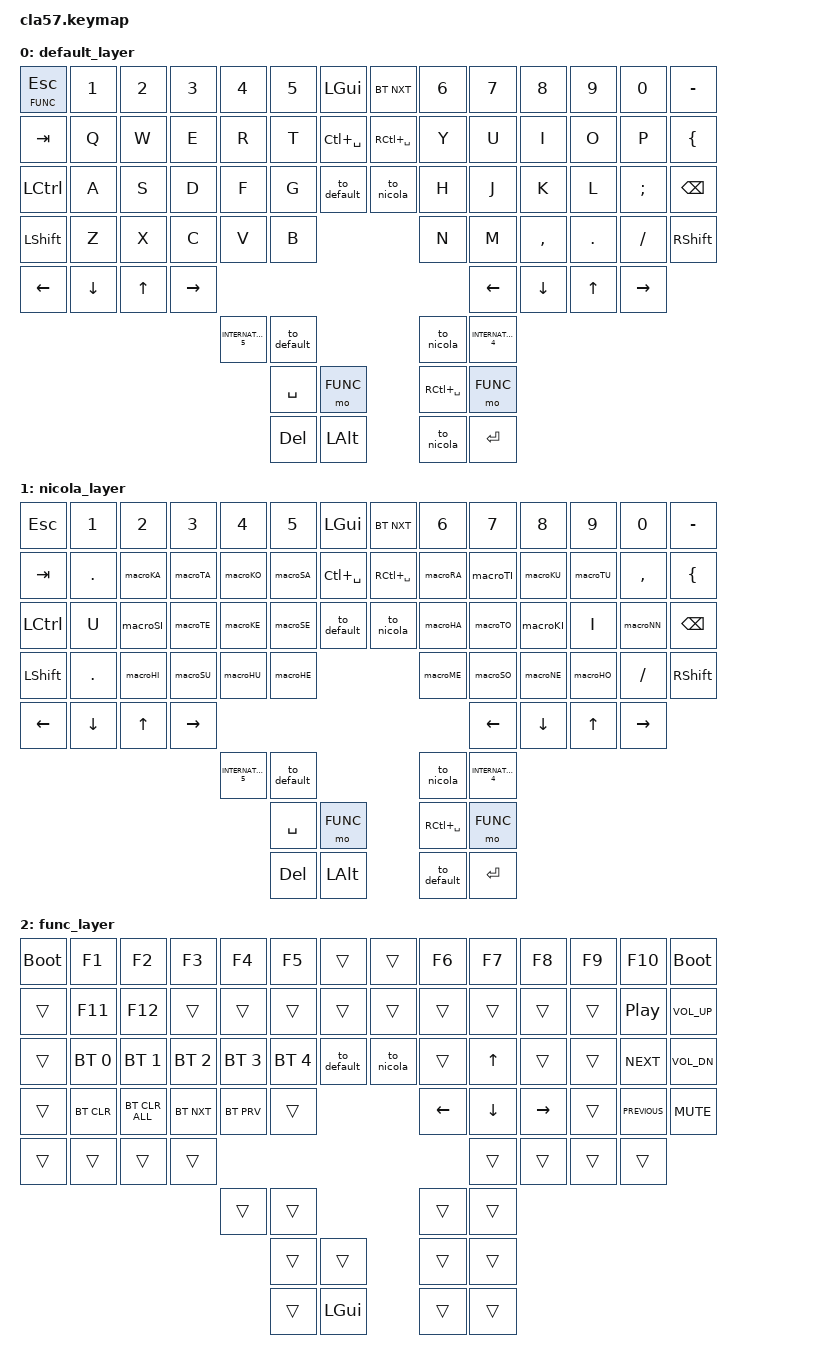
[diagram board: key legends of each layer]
/*
 * CLA57 - Japanese NICOLA Thumb Shift Split Keyboard
 * CPU: nRF52840 (nice_nano_v2)
 *
 * Layer 0 (DEFAULT): QWERTY base layer          - LED: Blue
 * Layer 1 (NICOLA):  NICOLA thumb shift layout   - LED: Red
 * Layer 2 (FUNC):    Function / media / BT       - LED: Green
 *
 * Left thumb shift  = INTERNATIONAL_5 (Muhenkan / 無変換) at position 62
 * Right thumb shift = INTERNATIONAL_4 (Henkan / 変換)     at position 65
 * Combo timeout: 30ms
 *
 * Key position map (74 keys total):
 *   Row 0: pos  0- 13 (14 keys)
 *   Row 1: pos 14- 27 (14 keys)
 *   Row 2: pos 28- 41 (14 keys)
 *   Row 3: pos 42- 53 (12 keys)
 *   Row 4: pos 54- 61 ( 8 keys)
 *   Thumb1: pos 62-65 ( 4 keys) ← thumb shift keys here
 *   Thumb2: pos 66-69 ( 4 keys)
 *   Thumb3: pos 70-73 ( 4 keys)
 */

#include <behaviors.dtsi>
#include <dt-bindings/zmk/bt.h>
#include <dt-bindings/zmk/keys.h>
/* #include <dt-bindings/zmk/rgb.h> */

#define DEFAULT 0
#define NICOLA  1
#define FUNC    2

/ {

    /* ============================================================
     *  Macros
     * ============================================================ */
    macros {

        /* --- Layer switch with LED color --- */

        to_default: to_default {
            compatible = "zmk,behavior-macro";
            #binding-cells = <0>;
            bindings = <&to DEFAULT>;
            label = "TO_DEFAULT";
        };

        to_nicola: to_nicola {
            compatible = "zmk,behavior-macro";
            #binding-cells = <0>;
            bindings = <&to NICOLA>;
            label = "TO_NICOLA";
        };

        /* --- Kana romaji macros (basic) --- */

        macroKA: macroKA {
            compatible = "zmk,behavior-macro";
            #binding-cells = <0>;
            bindings = <&kp K &kp A>;
            label = "KA";
        };

        macroKI: macroKI {
            compatible = "zmk,behavior-macro";
            #binding-cells = <0>;
            bindings = <&kp K &kp I>;
            label = "KI";
        };

        macroKU: macroKU {
            compatible = "zmk,behavior-macro";
            #binding-cells = <0>;
            bindings = <&kp K &kp U>;
            label = "KU";
        };

        macroKE: macroKE {
            compatible = "zmk,behavior-macro";
            #binding-cells = <0>;
            bindings = <&kp K &kp E>;
            label = "KE";
        };

        macroKO: macroKO {
            compatible = "zmk,behavior-macro";
            #binding-cells = <0>;
            bindings = <&kp K &kp O>;
            label = "KO";
        };

        macroSA: macroSA {
            compatible = "zmk,behavior-macro";
            #binding-cells = <0>;
            bindings = <&kp S &kp A>;
            label = "SA";
        };

        macroSI: macroSI {
            compatible = "zmk,behavior-macro";
            #binding-cells = <0>;
            bindings = <&kp S &kp I>;
            label = "SI";
        };

        macroSU: macroSU {
            compatible = "zmk,behavior-macro";
            #binding-cells = <0>;
            bindings = <&kp S &kp U>;
            label = "SU";
        };

        macroSE: macroSE {
            compatible = "zmk,behavior-macro";
            #binding-cells = <0>;
            bindings = <&kp S &kp E>;
            label = "SE";
        };

        macroSO: macroSO {
            compatible = "zmk,behavior-macro";
            #binding-cells = <0>;
            bindings = <&kp S &kp O>;
            label = "SO";
        };

        macroTA: macroTA {
            compatible = "zmk,behavior-macro";
            #binding-cells = <0>;
            bindings = <&kp T &kp A>;
            label = "TA";
        };

        macroTI: macroTI {
            compatible = "zmk,behavior-macro";
            #binding-cells = <0>;
            bindings = <&kp T &kp I>;
            label = "TI";
        };

        macroTU: macroTU {
            compatible = "zmk,behavior-macro";
            #binding-cells = <0>;
            bindings = <&kp T &kp U>;
            label = "TU";
        };

        macroTE: macroTE {
            compatible = "zmk,behavior-macro";
            #binding-cells = <0>;
            bindings = <&kp T &kp E>;
            label = "TE";
        };

        macroTO: macroTO {
            compatible = "zmk,behavior-macro";
            #binding-cells = <0>;
            bindings = <&kp T &kp O>;
            label = "TO";
        };

        macroNA: macroNA {
            compatible = "zmk,behavior-macro";
            #binding-cells = <0>;
            bindings = <&kp N &kp A>;
            label = "NA";
        };

        macroNI: macroNI {
            compatible = "zmk,behavior-macro";
            #binding-cells = <0>;
            bindings = <&kp N &kp I>;
            label = "NI";
        };

        macroNU: macroNU {
            compatible = "zmk,behavior-macro";
            #binding-cells = <0>;
            bindings = <&kp N &kp U>;
            label = "NU";
        };

        macroNE: macroNE {
            compatible = "zmk,behavior-macro";
            #binding-cells = <0>;
            bindings = <&kp N &kp E>;
            label = "NE";
        };

        macroNO: macroNO {
            compatible = "zmk,behavior-macro";
            #binding-cells = <0>;
            bindings = <&kp N &kp O>;
            label = "NO";
        };

        macroHA: macroHA {
            compatible = "zmk,behavior-macro";
            #binding-cells = <0>;
            bindings = <&kp H &kp A>;
            label = "HA";
        };

        macroHI: macroHI {
            compatible = "zmk,behavior-macro";
            #binding-cells = <0>;
            bindings = <&kp H &kp I>;
            label = "HI";
        };

        macroHU: macroHU {
            compatible = "zmk,behavior-macro";
            #binding-cells = <0>;
            bindings = <&kp H &kp U>;
            label = "HU";
        };

        macroHE: macroHE {
            compatible = "zmk,behavior-macro";
            #binding-cells = <0>;
            bindings = <&kp H &kp E>;
            label = "HE";
        };

        macroHO: macroHO {
            compatible = "zmk,behavior-macro";
            #binding-cells = <0>;
            bindings = <&kp H &kp O>;
            label = "HO";
        };

        macroMA: macroMA {
            compatible = "zmk,behavior-macro";
            #binding-cells = <0>;
            bindings = <&kp M &kp A>;
            label = "MA";
        };

        macroMI: macroMI {
            compatible = "zmk,behavior-macro";
            #binding-cells = <0>;
            bindings = <&kp M &kp I>;
            label = "MI";
        };

        macroMU: macroMU {
            compatible = "zmk,behavior-macro";
            #binding-cells = <0>;
            bindings = <&kp M &kp U>;
            label = "MU";
        };

        macroME: macroME {
            compatible = "zmk,behavior-macro";
            #binding-cells = <0>;
            bindings = <&kp M &kp E>;
            label = "ME";
        };

        macroMO: macroMO {
            compatible = "zmk,behavior-macro";
            #binding-cells = <0>;
            bindings = <&kp M &kp O>;
            label = "MO";
        };

        macroYA: macroYA {
            compatible = "zmk,behavior-macro";
            #binding-cells = <0>;
            bindings = <&kp Y &kp A>;
            label = "YA";
        };

        macroYU: macroYU {
            compatible = "zmk,behavior-macro";
            #binding-cells = <0>;
            bindings = <&kp Y &kp U>;
            label = "YU";
        };

        macroYO: macroYO {
            compatible = "zmk,behavior-macro";
            #binding-cells = <0>;
            bindings = <&kp Y &kp O>;
            label = "YO";
        };

        macroRA: macroRA {
            compatible = "zmk,behavior-macro";
            #binding-cells = <0>;
            bindings = <&kp R &kp A>;
            label = "RA";
        };

        macroRI: macroRI {
            compatible = "zmk,behavior-macro";
            #binding-cells = <0>;
            bindings = <&kp R &kp I>;
            label = "RI";
        };

        macroRU: macroRU {
            compatible = "zmk,behavior-macro";
            #binding-cells = <0>;
            bindings = <&kp R &kp U>;
            label = "RU";
        };

        macroRE: macroRE {
            compatible = "zmk,behavior-macro";
            #binding-cells = <0>;
            bindings = <&kp R &kp E>;
            label = "RE";
        };

        macroRO: macroRO {
            compatible = "zmk,behavior-macro";
            #binding-cells = <0>;
            bindings = <&kp R &kp O>;
            label = "RO";
        };

        macroWA: macroWA {
            compatible = "zmk,behavior-macro";
            #binding-cells = <0>;
            bindings = <&kp W &kp A>;
            label = "WA";
        };

        macroWO: macroWO {
            compatible = "zmk,behavior-macro";
            #binding-cells = <0>;
            bindings = <&kp W &kp O>;
            label = "WO";
        };

        macroNN: macroNN {
            compatible = "zmk,behavior-macro";
            #binding-cells = <0>;
            bindings = <&kp N &kp N>;
            label = "NN";
        };

        /* --- Dakuten (voiced) macros --- */

        macroGA: macroGA {
            compatible = "zmk,behavior-macro";
            #binding-cells = <0>;
            bindings = <&kp G &kp A>;
            label = "GA";
        };

        macroGI: macroGI {
            compatible = "zmk,behavior-macro";
            #binding-cells = <0>;
            bindings = <&kp G &kp I>;
            label = "GI";
        };

        macroGU: macroGU {
            compatible = "zmk,behavior-macro";
            #binding-cells = <0>;
            bindings = <&kp G &kp U>;
            label = "GU";
        };

        macroGE: macroGE {
            compatible = "zmk,behavior-macro";
            #binding-cells = <0>;
            bindings = <&kp G &kp E>;
            label = "GE";
        };

        macroGO: macroGO {
            compatible = "zmk,behavior-macro";
            #binding-cells = <0>;
            bindings = <&kp G &kp O>;
            label = "GO";
        };

        macroZA: macroZA {
            compatible = "zmk,behavior-macro";
            #binding-cells = <0>;
            bindings = <&kp Z &kp A>;
            label = "ZA";
        };

        macroZI: macroZI {
            compatible = "zmk,behavior-macro";
            #binding-cells = <0>;
            bindings = <&kp Z &kp I>;
            label = "ZI";
        };

        macroZU: macroZU {
            compatible = "zmk,behavior-macro";
            #binding-cells = <0>;
            bindings = <&kp Z &kp U>;
            label = "ZU";
        };

        macroZE: macroZE {
            compatible = "zmk,behavior-macro";
            #binding-cells = <0>;
            bindings = <&kp Z &kp E>;
            label = "ZE";
        };

        macroZO: macroZO {
            compatible = "zmk,behavior-macro";
            #binding-cells = <0>;
            bindings = <&kp Z &kp O>;
            label = "ZO";
        };

        macroDA: macroDA {
            compatible = "zmk,behavior-macro";
            #binding-cells = <0>;
            bindings = <&kp D &kp A>;
            label = "DA";
        };

        macroDI: macroDI {
            compatible = "zmk,behavior-macro";
            #binding-cells = <0>;
            bindings = <&kp D &kp I>;
            label = "DI";
        };

        macroDU: macroDU {
            compatible = "zmk,behavior-macro";
            #binding-cells = <0>;
            bindings = <&kp D &kp U>;
            label = "DU";
        };

        macroDE: macroDE {
            compatible = "zmk,behavior-macro";
            #binding-cells = <0>;
            bindings = <&kp D &kp E>;
            label = "DE";
        };

        macroDO: macroDO {
            compatible = "zmk,behavior-macro";
            #binding-cells = <0>;
            bindings = <&kp D &kp O>;
            label = "DO";
        };

        macroBA: macroBA {
            compatible = "zmk,behavior-macro";
            #binding-cells = <0>;
            bindings = <&kp B &kp A>;
            label = "BA";
        };

        macroBI: macroBI {
            compatible = "zmk,behavior-macro";
            #binding-cells = <0>;
            bindings = <&kp B &kp I>;
            label = "BI";
        };

        macroBU: macroBU {
            compatible = "zmk,behavior-macro";
            #binding-cells = <0>;
            bindings = <&kp B &kp U>;
            label = "BU";
        };

        macroBE: macroBE {
            compatible = "zmk,behavior-macro";
            #binding-cells = <0>;
            bindings = <&kp B &kp E>;
            label = "BE";
        };

        macroBO: macroBO {
            compatible = "zmk,behavior-macro";
            #binding-cells = <0>;
            bindings = <&kp B &kp O>;
            label = "BO";
        };

        /* --- Handakuten (semi-voiced) macros --- */

        macroPA: macroPA {
            compatible = "zmk,behavior-macro";
            #binding-cells = <0>;
            bindings = <&kp P &kp A>;
            label = "PA";
        };

        macroPI: macroPI {
            compatible = "zmk,behavior-macro";
            #binding-cells = <0>;
            bindings = <&kp P &kp I>;
            label = "PI";
        };

        macroPU: macroPU {
            compatible = "zmk,behavior-macro";
            #binding-cells = <0>;
            bindings = <&kp P &kp U>;
            label = "PU";
        };

        macroPE: macroPE {
            compatible = "zmk,behavior-macro";
            #binding-cells = <0>;
            bindings = <&kp P &kp E>;
            label = "PE";
        };

        macroPO: macroPO {
            compatible = "zmk,behavior-macro";
            #binding-cells = <0>;
            bindings = <&kp P &kp O>;
            label = "PO";
        };

        /* --- Small kana macros --- */

        macroLa: macroLa {
            compatible = "zmk,behavior-macro";
            #binding-cells = <0>;
            bindings = <&kp L &kp A>;
            label = "LA";
        };

        macroLi: macroLi {
            compatible = "zmk,behavior-macro";
            #binding-cells = <0>;
            bindings = <&kp L &kp I>;
            label = "LI";
        };

        macroLu: macroLu {
            compatible = "zmk,behavior-macro";
            #binding-cells = <0>;
            bindings = <&kp L &kp U>;
            label = "LU";
        };

        macroLe: macroLe {
            compatible = "zmk,behavior-macro";
            #binding-cells = <0>;
            bindings = <&kp L &kp E>;
            label = "LE";
        };

        macroLo: macroLo {
            compatible = "zmk,behavior-macro";
            #binding-cells = <0>;
            bindings = <&kp L &kp O>;
            label = "LO";
        };

        macroLya: macroLya {
            compatible = "zmk,behavior-macro";
            #binding-cells = <0>;
            bindings = <&kp L &kp Y &kp A>;
            label = "LYA";
        };

        macroLyu: macroLyu {
            compatible = "zmk,behavior-macro";
            #binding-cells = <0>;
            bindings = <&kp L &kp Y &kp U>;
            label = "LYU";
        };

        macroLyo: macroLyo {
            compatible = "zmk,behavior-macro";
            #binding-cells = <0>;
            bindings = <&kp L &kp Y &kp O>;
            label = "LYO";
        };

        macroLTU: macroLTU {
            compatible = "zmk,behavior-macro";
            #binding-cells = <0>;
            bindings = <&kp L &kp T &kp U>;
            label = "LTU";
        };

        /* --- Special --- */

        macroVU: macroVU {
            compatible = "zmk,behavior-macro";
            #binding-cells = <0>;
            bindings = <&kp V &kp U>;
            label = "VU";
        };
    };

    /* ============================================================
     *  Combos - NICOLA thumb shift (Layer 1 only, 30ms timeout)
     *
     *  Left thumb  = position 62 (INTERNATIONAL_5 / 無変換)
     *  Right thumb = position 65 (INTERNATIONAL_4 / 変換)
     * ============================================================ */
    combos {
        compatible = "zmk,combos";

        /* ---- Left thumb shift (pos 62) + Row 1 ---- */

        nicola_l_q {
            bindings = <&macroLa>;
            key-positions = <62 15>;
            layers = <NICOLA>;
            timeout-ms = <30>;
        };

        nicola_l_w {
            bindings = <&kp E>;
            key-positions = <62 16>;
            layers = <NICOLA>;
            timeout-ms = <30>;
        };

        nicola_l_e {
            bindings = <&macroRI>;
            key-positions = <62 17>;
            layers = <NICOLA>;
            timeout-ms = <30>;
        };

        nicola_l_r {
            bindings = <&macroLya>;
            key-positions = <62 18>;
            layers = <NICOLA>;
            timeout-ms = <30>;
        };

        nicola_l_t {
            bindings = <&macroRE>;
            key-positions = <62 19>;
            layers = <NICOLA>;
            timeout-ms = <30>;
        };

        nicola_l_y {
            bindings = <&macroYO>;
            key-positions = <62 22>;
            layers = <NICOLA>;
            timeout-ms = <30>;
        };

        nicola_l_u {
            bindings = <&macroNI>;
            key-positions = <62 23>;
            layers = <NICOLA>;
            timeout-ms = <30>;
        };

        nicola_l_i {
            bindings = <&macroRU>;
            key-positions = <62 24>;
            layers = <NICOLA>;
            timeout-ms = <30>;
        };

        nicola_l_o {
            bindings = <&macroMA>;
            key-positions = <62 25>;
            layers = <NICOLA>;
            timeout-ms = <30>;
        };

        nicola_l_p {
            bindings = <&macroLe>;
            key-positions = <62 26>;
            layers = <NICOLA>;
            timeout-ms = <30>;
        };

        /* ---- Left thumb shift (pos 62) + Row 2 ---- */

        nicola_l_a {
            bindings = <&macroWO>;
            key-positions = <62 29>;
            layers = <NICOLA>;
            timeout-ms = <30>;
        };

        nicola_l_s {
            bindings = <&kp A>;
            key-positions = <62 30>;
            layers = <NICOLA>;
            timeout-ms = <30>;
        };

        nicola_l_d {
            bindings = <&macroNA>;
            key-positions = <62 31>;
            layers = <NICOLA>;
            timeout-ms = <30>;
        };

        nicola_l_f {
            bindings = <&macroLyu>;
            key-positions = <62 32>;
            layers = <NICOLA>;
            timeout-ms = <30>;
        };

        nicola_l_g {
            bindings = <&macroMO>;
            key-positions = <62 33>;
            layers = <NICOLA>;
            timeout-ms = <30>;
        };

        nicola_l_h {
            bindings = <&macroMI>;
            key-positions = <62 36>;
            layers = <NICOLA>;
            timeout-ms = <30>;
        };

        nicola_l_j {
            bindings = <&kp O>;
            key-positions = <62 37>;
            layers = <NICOLA>;
            timeout-ms = <30>;
        };

        nicola_l_k {
            bindings = <&macroNO>;
            key-positions = <62 38>;
            layers = <NICOLA>;
            timeout-ms = <30>;
        };

        nicola_l_l {
            bindings = <&macroLyo>;
            key-positions = <62 39>;
            layers = <NICOLA>;
            timeout-ms = <30>;
        };

        nicola_l_semi {
            bindings = <&macroLTU>;
            key-positions = <62 40>;
            layers = <NICOLA>;
            timeout-ms = <30>;
        };

        /* ---- Left thumb shift (pos 62) + Row 3 ---- */

        nicola_l_z {
            bindings = <&macroLu>;
            key-positions = <62 43>;
            layers = <NICOLA>;
            timeout-ms = <30>;
        };

        nicola_l_x {
            bindings = <&kp MINUS>;
            key-positions = <62 44>;
            layers = <NICOLA>;
            timeout-ms = <30>;
        };

        nicola_l_c {
            bindings = <&macroRO>;
            key-positions = <62 45>;
            layers = <NICOLA>;
            timeout-ms = <30>;
        };

        nicola_l_v {
            bindings = <&macroYA>;
            key-positions = <62 46>;
            layers = <NICOLA>;
            timeout-ms = <30>;
        };

        nicola_l_b {
            bindings = <&macroLi>;
            key-positions = <62 47>;
            layers = <NICOLA>;
            timeout-ms = <30>;
        };

        nicola_l_n {
            bindings = <&macroNU>;
            key-positions = <62 48>;
            layers = <NICOLA>;
            timeout-ms = <30>;
        };

        nicola_l_m {
            bindings = <&macroYU>;
            key-positions = <62 49>;
            layers = <NICOLA>;
            timeout-ms = <30>;
        };

        nicola_l_comma {
            bindings = <&macroMU>;
            key-positions = <62 50>;
            layers = <NICOLA>;
            timeout-ms = <30>;
        };

        nicola_l_dot {
            bindings = <&macroWA>;
            key-positions = <62 51>;
            layers = <NICOLA>;
            timeout-ms = <30>;
        };

        nicola_l_slash {
            bindings = <&macroLo>;
            key-positions = <62 52>;
            layers = <NICOLA>;
            timeout-ms = <30>;
        };

        /* ---- Right thumb shift (pos 65) + Row 1 ---- */

        nicola_r_w {
            bindings = <&macroGA>;
            key-positions = <65 16>;
            layers = <NICOLA>;
            timeout-ms = <30>;
        };

        nicola_r_e {
            bindings = <&macroDA>;
            key-positions = <65 17>;
            layers = <NICOLA>;
            timeout-ms = <30>;
        };

        nicola_r_r {
            bindings = <&macroGO>;
            key-positions = <65 18>;
            layers = <NICOLA>;
            timeout-ms = <30>;
        };

        nicola_r_t {
            bindings = <&macroZA>;
            key-positions = <65 19>;
            layers = <NICOLA>;
            timeout-ms = <30>;
        };

        nicola_r_y {
            bindings = <&macroPA>;
            key-positions = <65 22>;
            layers = <NICOLA>;
            timeout-ms = <30>;
        };

        nicola_r_u {
            bindings = <&macroDI>;
            key-positions = <65 23>;
            layers = <NICOLA>;
            timeout-ms = <30>;
        };

        nicola_r_i {
            bindings = <&macroGU>;
            key-positions = <65 24>;
            layers = <NICOLA>;
            timeout-ms = <30>;
        };

        nicola_r_o {
            bindings = <&macroDU>;
            key-positions = <65 25>;
            layers = <NICOLA>;
            timeout-ms = <30>;
        };

        nicola_r_p {
            bindings = <&macroPI>;
            key-positions = <65 26>;
            layers = <NICOLA>;
            timeout-ms = <30>;
        };

        /* ---- Right thumb shift (pos 65) + Row 2 ---- */

        nicola_r_a {
            bindings = <&macroVU>;
            key-positions = <65 29>;
            layers = <NICOLA>;
            timeout-ms = <30>;
        };

        nicola_r_s {
            bindings = <&macroZI>;
            key-positions = <65 30>;
            layers = <NICOLA>;
            timeout-ms = <30>;
        };

        nicola_r_d {
            bindings = <&macroDE>;
            key-positions = <65 31>;
            layers = <NICOLA>;
            timeout-ms = <30>;
        };

        nicola_r_f {
            bindings = <&macroGE>;
            key-positions = <65 32>;
            layers = <NICOLA>;
            timeout-ms = <30>;
        };

        nicola_r_g {
            bindings = <&macroZE>;
            key-positions = <65 33>;
            layers = <NICOLA>;
            timeout-ms = <30>;
        };

        nicola_r_h {
            bindings = <&macroBA>;
            key-positions = <65 36>;
            layers = <NICOLA>;
            timeout-ms = <30>;
        };

        nicola_r_j {
            bindings = <&macroDO>;
            key-positions = <65 37>;
            layers = <NICOLA>;
            timeout-ms = <30>;
        };

        nicola_r_k {
            bindings = <&macroGI>;
            key-positions = <65 38>;
            layers = <NICOLA>;
            timeout-ms = <30>;
        };

        nicola_r_l {
            bindings = <&macroPO>;
            key-positions = <65 39>;
            layers = <NICOLA>;
            timeout-ms = <30>;
        };

        /* ---- Right thumb shift (pos 65) + Row 3 ---- */

        nicola_r_x {
            bindings = <&macroBI>;
            key-positions = <65 44>;
            layers = <NICOLA>;
            timeout-ms = <30>;
        };

        nicola_r_c {
            bindings = <&macroZU>;
            key-positions = <65 45>;
            layers = <NICOLA>;
            timeout-ms = <30>;
        };

        nicola_r_v {
            bindings = <&macroBU>;
            key-positions = <65 46>;
            layers = <NICOLA>;
            timeout-ms = <30>;
        };

        nicola_r_b {
            bindings = <&macroBE>;
            key-positions = <65 47>;
            layers = <NICOLA>;
            timeout-ms = <30>;
        };

        nicola_r_n {
            bindings = <&macroPU>;
            key-positions = <65 48>;
            layers = <NICOLA>;
            timeout-ms = <30>;
        };

        nicola_r_m {
            bindings = <&macroZO>;
            key-positions = <65 49>;
            layers = <NICOLA>;
            timeout-ms = <30>;
        };

        nicola_r_comma {
            bindings = <&macroPE>;
            key-positions = <65 50>;
            layers = <NICOLA>;
            timeout-ms = <30>;
        };

        nicola_r_dot {
            bindings = <&macroBO>;
            key-positions = <65 51>;
            layers = <NICOLA>;
            timeout-ms = <30>;
        };
    };

    /* ============================================================
     *  Keymap
     * ============================================================ */
    keymap {
        compatible = "zmk,keymap";

        /* --------------------------------------------------------
         * Layer 0: DEFAULT (QWERTY) - LED: Blue
         * -------------------------------------------------------- */
        default_layer {
            bindings = <
&lt FUNC ESC      &kp N1    &kp N2     &kp N3     &kp N4             &kp N5     &kp LEFT_GUI           &bt BT_NXT     &kp N6         &kp N7                &kp N8      &kp N9      &kp N0      &kp MINUS
&kp TAB           &kp Q     &kp W      &kp E      &kp R              &kp T      &kp LC(SPACE)          &kp RC(SPACE)  &kp Y          &kp U                 &kp I       &kp O       &kp P       &kp LEFT_BRACE
&kp LEFT_CONTROL  &kp A     &kp S      &kp D      &kp F              &kp G      &to_default            &to_nicola     &kp H          &kp J                 &kp K       &kp L       &kp SEMI    &kp BACKSPACE
&kp LEFT_SHIFT    &kp Z     &kp X      &kp C      &kp V              &kp B                                            &kp N          &kp M                 &kp COMMA   &kp DOT     &kp SLASH   &kp RIGHT_SHIFT
&kp LEFT          &kp DOWN  &kp UP     &kp RIGHT                                                                                     &kp LEFT              &kp DOWN    &kp UP      &kp RIGHT
                                                   &kp INTERNATIONAL_5  &to_default                                    &to_nicola     &kp INTERNATIONAL_4
                                                                        &kp SPACE      &mo FUNC                        &kp RC(SPACE)  &mo FUNC
                                                                        &kp DEL        &kp LEFT_ALT                    &to_nicola     &kp RET
            >;
        };

        /* --------------------------------------------------------
         * Layer 1: NICOLA (thumb shift Japanese input) - LED: Red
         *
         * Unshifted:
         *   。 か た こ さ    ら ち く つ 、
         *   う し て け せ    は と き い ん
         *   。 ひ す ふ へ    め そ ね ほ ・
         *
         * + Left thumb (無変換):
         *   ぁ え り ゃ れ    よ に る ま ぇ
         *   を あ な ゅ も    み お の ょ っ
         *   ぅ ー ろ や ぃ    ぬ ゆ む わ ぉ
         *
         * + Right thumb (変換):
         *      が だ ご ざ    ぱ ぢ ぐ づ ぴ
         *   ゔ じ で げ ぜ    ば ど ぎ ぽ
         *      び ず ぶ べ    ぷ ぞ ぺ ぼ
         * -------------------------------------------------------- */
        nicola_layer {
            bindings = <
&kp ESC           &kp N1      &kp N2     &kp N3     &kp N4             &kp N5     &kp LEFT_GUI           &bt BT_NXT     &kp N6         &kp N7                &kp N8      &kp N9      &kp N0      &kp MINUS
&kp TAB           &kp PERIOD  &macroKA   &macroTA   &macroKO           &macroSA   &kp LC(SPACE)          &kp RC(SPACE)  &macroRA       &macroTI              &macroKU    &macroTU    &kp COMMA   &kp LEFT_BRACE
&kp LEFT_CONTROL  &kp U       &macroSI   &macroTE   &macroKE           &macroSE   &to_default            &to_nicola     &macroHA       &macroTO              &macroKI    &kp I       &macroNN    &kp BACKSPACE
&kp LEFT_SHIFT    &kp PERIOD  &macroHI   &macroSU   &macroHU           &macroHE                                         &macroME       &macroSO              &macroNE    &macroHO    &kp SLASH   &kp RIGHT_SHIFT
&kp LEFT          &kp DOWN    &kp UP     &kp RIGHT                                                                                     &kp LEFT              &kp DOWN    &kp UP      &kp RIGHT
                                                     &kp INTERNATIONAL_5  &to_default                                    &to_nicola     &kp INTERNATIONAL_4
                                                                          &kp SPACE      &mo FUNC                        &kp RC(SPACE)  &mo FUNC
                                                                          &kp DEL        &kp LEFT_ALT                    &to_default    &kp RET
            >;
        };

        /* --------------------------------------------------------
         * Layer 2: FUNC (Function / Media / BT) - LED: Green
         * -------------------------------------------------------- */
        func_layer {
            bindings = <
&bootloader  &kp F1          &kp F2          &kp F3          &kp F4          &kp F5         &trans                &trans          &kp F6     &kp F7     &kp F8      &kp F9   &kp F10            &bootloader
&trans       &kp F11         &kp F12         &trans          &trans          &trans         &trans                &trans          &trans     &trans     &trans      &trans   &kp C_PLAY_PAUSE   &kp C_VOL_UP
&trans       &bt BT_SEL 0    &bt BT_SEL 1    &bt BT_SEL 2    &bt BT_SEL 3    &bt BT_SEL 4   &to_default           &to_nicola      &trans     &kp UP     &trans      &trans   &kp C_NEXT         &kp C_VOL_DN
&trans       &bt BT_CLR      &bt BT_CLR_ALL  &bt BT_NXT      &bt BT_PRV      &trans                                               &kp LEFT   &kp DOWN   &kp RIGHT   &trans   &kp C_PREVIOUS     &kp C_MUTE
&trans       &trans          &trans          &trans                                                                                            &trans     &trans      &trans   &trans
                                                              &trans          &trans                                               &trans     &trans
                                                                              &trans          &trans                               &trans     &trans
                                                                              &trans          &kp LEFT_GUI                         &trans     &trans
            >;
        };
    };
};
